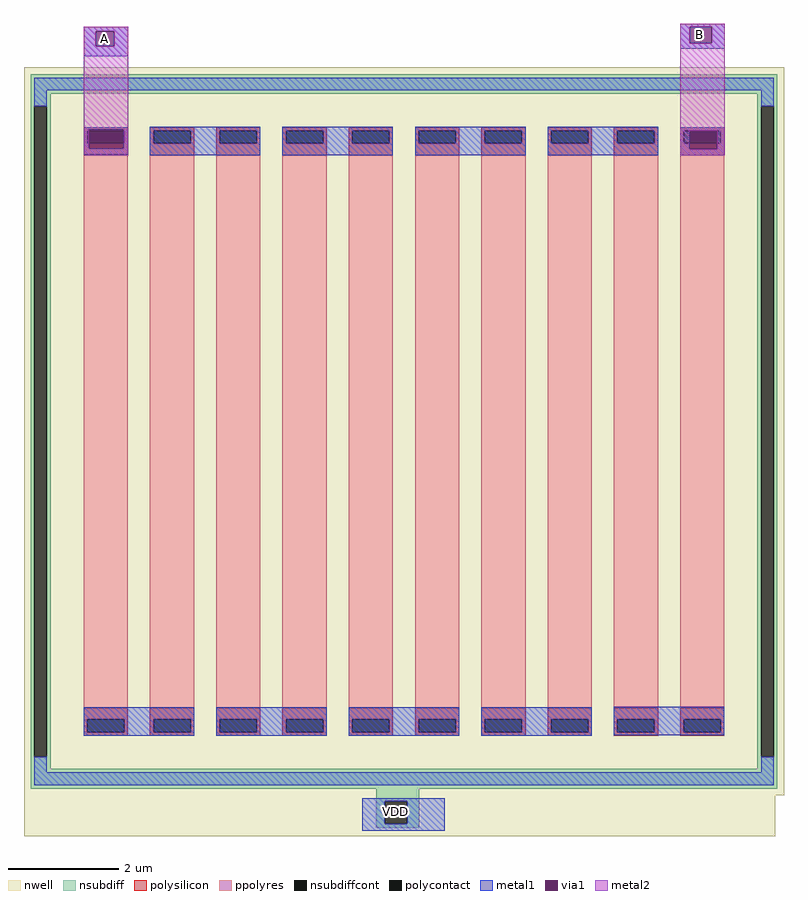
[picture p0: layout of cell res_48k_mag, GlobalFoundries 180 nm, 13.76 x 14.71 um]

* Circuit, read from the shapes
.subckt res_48k_mag VDD B A
XR1 A n1 VSUBS ppolyf_u r_width=0.8u r_length=10u
XR2 n2 n1 VSUBS ppolyf_u r_width=0.8u r_length=10u
XR3 n2 n3 VSUBS ppolyf_u r_width=0.8u r_length=10u
XR4 n4 n3 VSUBS ppolyf_u r_width=0.8u r_length=10u
XR5 n4 n5 VSUBS ppolyf_u r_width=0.8u r_length=10u
XR6 n6 n5 VSUBS ppolyf_u r_width=0.8u r_length=10u
XR7 n6 n7 VSUBS ppolyf_u r_width=0.8u r_length=10u
XR8 n8 n7 VSUBS ppolyf_u r_width=0.8u r_length=10u
XR9 n8 n9 VSUBS ppolyf_u r_width=0.8u r_length=10u
XR10 B n9 VSUBS ppolyf_u r_width=0.8u r_length=10u
.ends

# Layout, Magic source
magic
tech gf180mcuC
magscale 1 10
<< nwell >>
rect -4713 20 -2077 2476
rect -4713 -160 -1992 20
<< nsubdiff >>
rect -3418 35 -3337 55
rect -3418 24 -3281 35
rect -3437 -34 -3281 24
rect -3437 -115 -3406 -34
rect -3325 -115 -3281 -34
rect -3437 -130 -3281 -115
<< nsubdiffcont >>
rect -3406 -115 -3325 -34
<< metal1 >>
rect -4496 2754 -4336 2772
rect -4496 2700 -4454 2754
rect -4387 2700 -4336 2754
rect -4496 2665 -4336 2700
rect -2336 2771 -2176 2782
rect -2336 2712 -2302 2771
rect -2222 2712 -2176 2771
rect -2336 2692 -2176 2712
rect -4497 2400 -4336 2408
rect -4497 2330 -4478 2400
rect -4352 2330 -4336 2400
rect -4497 2307 -4336 2330
rect -4257 2306 -3857 2409
rect -3777 2306 -3377 2409
rect -3297 2306 -2897 2409
rect -2817 2306 -2417 2409
rect -2337 2395 -2176 2408
rect -2337 2328 -2304 2395
rect -2202 2328 -2176 2395
rect -2337 2306 -2176 2328
rect -4497 204 -4097 307
rect -4017 204 -3617 307
rect -3537 204 -3137 307
rect -3057 204 -2657 307
rect -2577 205 -2177 308
rect -3488 -34 -3189 -23
rect -3488 -115 -3406 -34
rect -3325 -115 -3189 -34
rect -3488 -141 -3189 -115
<< via1 >>
rect -4454 2700 -4387 2754
rect -2302 2712 -2222 2771
rect -4478 2330 -4352 2400
rect -2304 2328 -2202 2395
<< metal2 >>
rect -4496 2754 -4336 2772
rect -4496 2700 -4454 2754
rect -4387 2700 -4336 2754
rect -4496 2408 -4336 2700
rect -2336 2771 -2176 2782
rect -2336 2712 -2302 2771
rect -2222 2712 -2176 2771
rect -2336 2408 -2176 2712
rect -4497 2400 -4336 2408
rect -4497 2330 -4478 2400
rect -4352 2330 -4336 2400
rect -4497 2307 -4336 2330
rect -4496 2306 -4336 2307
rect -2337 2395 -2176 2408
rect -2337 2328 -2304 2395
rect -2202 2328 -2176 2395
rect -2337 2306 -2176 2328
use ppolyf_u_3D7VPB  ppolyf_u_3D7VPB_0
transform 1 0 -3337 0 1 1306
box -1376 -1318 1376 1318
<< labels >>
flabel nsubdiffcont -3366 -71 -3366 -71 0 FreeSans 640 0 0 0 VDD
port 2 nsew
flabel via1 -2266 2743 -2266 2743 0 FreeSans 640 0 0 0 B
port 3 nsew
flabel via1 -4421 2728 -4421 2728 0 FreeSans 640 0 0 0 A
port 4 nsew
<< end >>

# cell ppolyf_u_3D7VPB: kit device ppolyf_u, w 0.80 l 10 m 1 nx 10 wmin 0.80 lmin 1.00 rho 315 val 4.315k dummy 0 dw 0.07 term 0.0 sterm 0.0 caplen 0.4 snake 0 glc 1 grc 1 gtc 0 gbc 0 roverlap 0 endcov 100 full_metal 1
